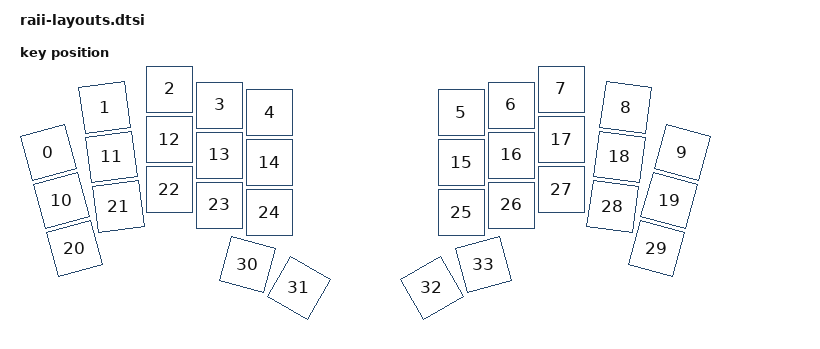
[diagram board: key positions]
#include <physical_layouts.dtsi>

/ {
  default_layout: physical_layout {
    compatible = "zmk,physical-layout";
    display-name = "Default";

    keys  //                     w   h    x    y     rot    rx    ry
        = <&key_physical_attrs 100 100    0  127 (-1600)    50   177>
        , <&key_physical_attrs 100 100  113   37  (-800)   163    87>
        , <&key_physical_attrs 100 100  243    0       0     0     0>
        , <&key_physical_attrs 100 100  343   32       0     0     0>
        , <&key_physical_attrs 100 100  443   47       0     0     0>
        , <&key_physical_attrs 100 100  826   47       0     0     0>
        , <&key_physical_attrs 100 100  926   32       0     0     0>
        , <&key_physical_attrs 100 100 1026    0       0     0     0>
        , <&key_physical_attrs 100 100 1155   37     800  1205    87>
        , <&key_physical_attrs 100 100 1268  127    1600  1318   177>
        , <&key_physical_attrs 100 100   26  223 (-1600)    76   273>
        , <&key_physical_attrs 100 100  126  136  (-800)   176   186>
        , <&key_physical_attrs 100 100  243  101       0     0     0>
        , <&key_physical_attrs 100 100  343  132       0     0     0>
        , <&key_physical_attrs 100 100  443  147       0     0     0>
        , <&key_physical_attrs 100 100  826  147       0     0     0>
        , <&key_physical_attrs 100 100  926  132       0     0     0>
        , <&key_physical_attrs 100 100 1026  101       0     0     0>
        , <&key_physical_attrs 100 100 1142  136     800  1192   186>
        , <&key_physical_attrs 100 100 1242  223    1600  1292   273>
        , <&key_physical_attrs 100 100   52  319 (-1600)   102   369>
        , <&key_physical_attrs 100 100  140  235  (-800)   190   285>
        , <&key_physical_attrs 100 100  243  201       0     0     0>
        , <&key_physical_attrs 100 100  343  232       0     0     0>
        , <&key_physical_attrs 100 100  443  247       0     0     0>
        , <&key_physical_attrs 100 100  826  247       0     0     0>
        , <&key_physical_attrs 100 100  926  232       0     0     0>
        , <&key_physical_attrs 100 100 1026  201       0     0     0>
        , <&key_physical_attrs 100 100 1129  235     800  1179   285>
        , <&key_physical_attrs 100 100 1216  319    1600  1266   369>
        , <&key_physical_attrs 100 100  398  351    1500   448   401>
        , <&key_physical_attrs 100 100  501  398    3000   551   448>
        , <&key_physical_attrs 100 100  767  398 (-3000)   817   448>
        , <&key_physical_attrs 100 100  870  351 (-1500)   920   401>
        ;
  };
};
